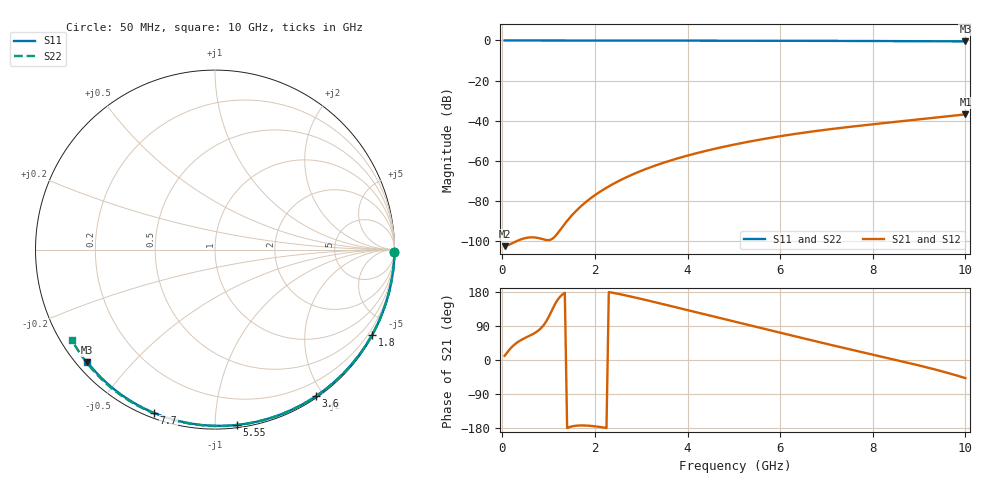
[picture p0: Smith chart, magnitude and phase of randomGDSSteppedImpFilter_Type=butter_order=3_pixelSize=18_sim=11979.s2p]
! freq	dB(S11)	phase(S11)	dB(S12)	phase(S12)
!  dB(S21)	phase(S21)	dB(S22)	phase(S22)
!S-par simulation data
#  GHz  S  DB  R 50
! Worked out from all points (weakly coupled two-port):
!   200 points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, 50 MHz to 10 GHz, reference 50 ohm
!   highest |S21| = -36.84 dB at 10 GHz (marker M1); lowest = -102.4 dB at 50 MHz (marker M2)
!   lowest |S11| = -0.5 dB at 10 GHz (marker M3), VSWR 37.70, Z = 1.52 - j18.9 ohm
!   |S11| at or under -10 dB: nowhere
!   |S22| runs from -0.5 to 0.0 dB; largest |S21 - S12| = 0
!   S11 on the Smith chart (normalised r, x): 50 MHz: open; 1.8 GHz: 0.03, -3.95; 3.6 GHz: 0.02, -1.90; 5.55 GHz: 0.02, -1.13; 7.7 GHz: 0.02, -0.69; 10 GHz: 0.03, -0.38
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0.05  -0.00 -0.8  -102.42 11.1  -102.42 11.1  -0.00 -0.9
0.45  -0.01 -7.2  -98.69 55.6  -98.69 55.6  -0.00 -7.7
0.85  -0.02 -13.6  -98.79 85.8  -98.79 85.8  -0.01 -14.5
1.3  -0.03 -20.6  -92.79 173.1  -92.79 173.1  -0.03 -22.1
1.75  -0.04 -27.6  -81.51 -172.7  -81.51 -172.7  -0.04 -29.6
1.8  -0.04 -28.4  -80.53 -172.9  -80.53 -172.9  -0.04 -30.4
1.85  -0.04 -29.2  -79.61 -173.3  -79.61 -173.3  -0.04 -31.2
2.05  -0.04 -32.3  -76.24 -175.8  -76.24 -175.8  -0.04 -34.5
2.2  -0.04 -34.6  -74.03 -178.5  -74.03 -178.5  -0.05 -37.0
2.55  -0.05 -39.9  -69.56 173.4  -69.56 173.4  -0.06 -42.7
2.95  -0.06 -45.9  -65.38 162.6  -65.38 162.6  -0.06 -49.1
3.4  -0.07 -52.5  -61.51 149.5  -61.51 149.5  -0.07 -56.2
3.6  -0.07 -55.5  -60.01 143.5  -60.01 143.5  -0.08 -59.3
4.3  -0.09 -65.5  -55.52 122.6  -55.52 122.6  -0.10 -70.0
5.05  -0.12 -76.0  -51.64 100.3  -51.64 100.3  -0.12 -81.0
5.55  -0.14 -82.8  -49.44 85.5  -49.44 85.5  -0.14 -88.2
6.1  -0.16 -90.1  -47.31 69.1  -47.31 69.1  -0.17 -96.0
6.7  -0.19 -97.9  -45.30 51.4  -45.30 51.4  -0.20 -104.2
7.7  -0.25 -110.5  -42.50 22.6  -42.50 22.6  -0.27 -117.7
8.35  -0.30 -118.5  -40.87 4.3  -40.87 4.3  -0.32 -126.2
9.2  -0.38 -128.9  -38.75 -20.5  -38.75 -20.5  -0.41 -137.2
10  -0.46 -138.6  -36.84 -47.8  -36.84 -47.8  -0.51 -147.5
